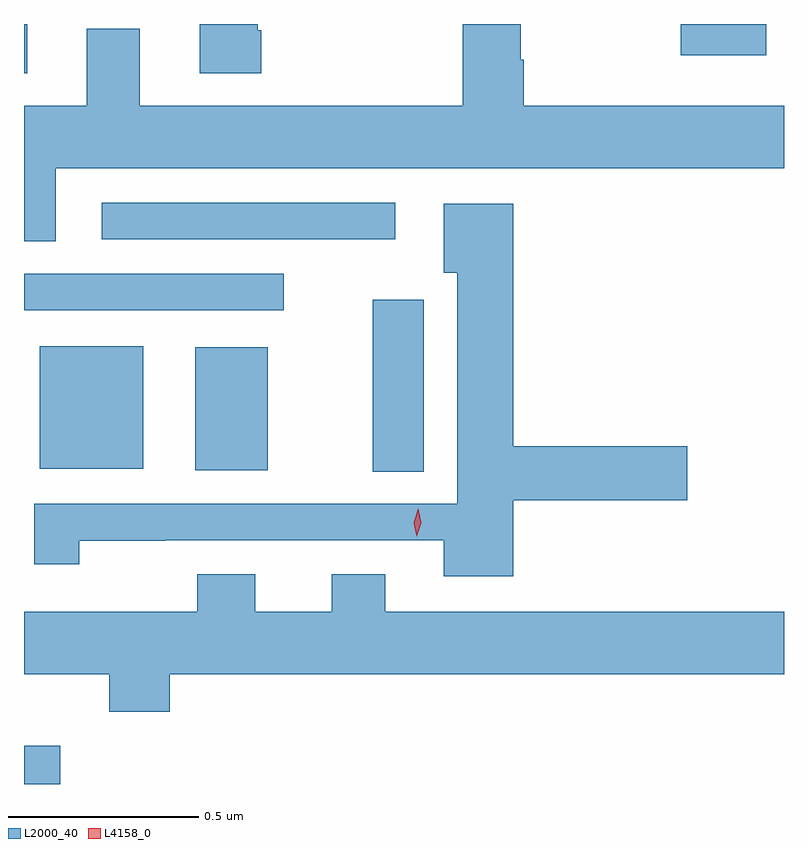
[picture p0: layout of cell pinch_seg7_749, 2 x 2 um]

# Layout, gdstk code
import gdstk
lib = gdstk.Library(unit=1e-6, precision=1e-09)
def R(c, l, rs):  # rectangles x0, y0, x1, y1
    for r in rs: c.add(gdstk.rectangle(r[:2], r[2:], *l))
def P(c, l, *ps):  # polygons
    for p in ps: c.add(gdstk.Polygon(p, *l))
L2000_40 = (2000, 40)
L4158_0 = (4158, 0)

pinch_seg7_749 = lib.new_cell('pinch_seg7_749')
R(pinch_seg7_749, L2000_40, [(363.566,1001.659,363.662,1001.76), (364.484,1002.481,364.618,1002.934), (364.016,1002.485,364.207,1002.808), (363.608,1002.488,363.88,1002.811), (363.566,1002.906,364.249,1003.002), (363.771,1003.092,364.543,1003.188), (363.566,1003.53,363.574,1003.659), (365.294,1003.577,365.519,1003.659)])
P(pinch_seg7_749, L2000_40, [(363.649,1003.28),(365.566,1003.28),(365.566,1003.444),(364.881,1003.444),(364.881,1003.565),(364.873,1003.565),(364.873,1003.659),(364.721,1003.659),(364.721,1003.444),(363.871,1003.444),(363.871,1003.646),(363.731,1003.646),(363.731,1003.444),(363.566,1003.444),(363.566,1003.087),(363.649,1003.087)],
  [(364.19,1003.642),(364.181,1003.642),(364.181,1003.659),(364.028,1003.659),(364.028,1003.53),(364.19,1003.53)],
  [(364.853,1002.406),(365.311,1002.406),(365.311,1002.548),(364.853,1002.548),(364.853,1003.186),(364.67,1003.186),(364.67,1003.004),(364.706,1003.004),(364.706,1002.396),(363.593,1002.396),(363.593,1002.237),(363.711,1002.237),(363.711,1002.299),(363.938,1002.299),(363.938,1002.3),(364.67,1002.3),(364.67,1002.206),(364.853,1002.206)],
  [(364.376,1002.211),(364.376,1002.112),(364.174,1002.112),(364.174,1002.211),(364.022,1002.211),(364.022,1002.112),(363.566,1002.112),(363.566,1001.948),(363.79,1001.948),(363.79,1001.849),(363.95,1001.849),(363.95,1001.948),(365.566,1001.948),(365.566,1002.112),(364.516,1002.112),(364.516,1002.211)])
P(pinch_seg7_749, L4158_0, [(364.6,1002.311),(364.6,1002.311),(364.591,1002.347),(364.603,1002.383),(364.603,1002.383),(364.603,1002.383),(364.612,1002.346),(364.6,1002.311)])

lib.write_gds('pinch_seg7_749.gds')
